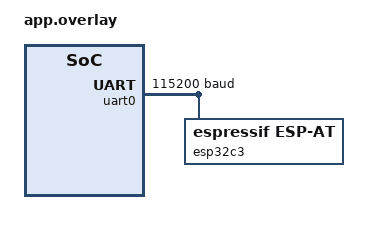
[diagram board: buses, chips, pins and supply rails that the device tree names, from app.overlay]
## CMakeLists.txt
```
# SPDX-License-Identifier: Apache-2.0

cmake_minimum_required(VERSION 3.20.0)

find_package(Zephyr REQUIRED HINTS $ENV{ZEPHYR_BASE})
project(esp_at_wifi)

target_sources(app PRIVATE src/main.c)
```

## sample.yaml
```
common:
  harness: net
  tags:
    - net
    - wifi
    - esp_at

sample:
  name: ESP-AT Wi-Fi connection test
  description: Connect to a Wi-Fi network through an ESP-AT module.

tests:
  sample.net.wifi.esp_at:
    platform_allow:
      - nrf52dk_nrf52832
    integration_platforms:
      - nrf52dk_nrf52832
```

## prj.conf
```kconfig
CONFIG_EARLY_CONSOLE=n
CONFIG_UART_CONSOLE=n
CONFIG_LOG_BACKEND_UART=n
CONFIG_USE_SEGGER_RTT=y
CONFIG_RTT_CONSOLE=y
CONFIG_LOG_BACKEND_RTT=y

CONFIG_NETWORKING=y
CONFIG_NET_IPV4=y
CONFIG_NET_IPV6=n
CONFIG_NET_DHCPV4=y

CONFIG_NET_TX_STACK_SIZE=2048
CONFIG_NET_RX_STACK_SIZE=2048

CONFIG_NET_PKT_RX_COUNT=16
CONFIG_NET_PKT_TX_COUNT=16
CONFIG_NET_BUF_RX_COUNT=16
CONFIG_NET_BUF_TX_COUNT=16

CONFIG_NET_LOG=y
CONFIG_INIT_STACKS=y

CONFIG_NET_STATISTICS=y
CONFIG_NET_STATISTICS_PERIODIC_OUTPUT=n

CONFIG_WIFI=y
CONFIG_WIFI_LOG_LEVEL_DBG=y

CONFIG_LOG=y
CONFIG_LOG_DEFAULT_LEVEL=3
CONFIG_LOG_MODE_IMMEDIATE=y
CONFIG_LOG_PRINTK=y
CONFIG_SEGGER_RTT_BUFFER_SIZE_UP=4096
CONFIG_LOG_BACKEND_RTT_OUTPUT_BUFFER_SIZE=256

CONFIG_WIFI_INIT_PRIORITY=70
CONFIG_NET_L2_WIFI_MGMT=y

CONFIG_WIFI_ESP_AT=y
CONFIG_WIFI_ESP_AT_PASSIVE_MODE=y
CONFIG_WIFI_ESP_AT_VERSION_2_1=y
CONFIG_WIFI_ESP_AT_FETCH_VERSION=n
CONFIG_WIFI_ESP_AT_SCAN_RESULT_RSSI_ORDERED=y
CONFIG_WIFI_ESP_AT_DNS_USE=n
CONFIG_WIFI_ESP_AT_RX_STACK_SIZE=1024
CONFIG_WIFI_ESP_AT_WORKQ_STACK_SIZE=1024
```

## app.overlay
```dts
modem_uart: &uart0 {
	compatible = "nordic,nrf-uarte";
	status = "okay";
	current-speed = <115200>;
	pinctrl-0 = <&uart0_default>;
	pinctrl-1 = <&uart0_sleep>;
	pinctrl-names = "default", "sleep";

	esp32c3 {
		compatible = "espressif,esp-at";
		status = "okay";
	};
};
```

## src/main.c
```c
/*
 * SPDX-License-Identifier: Apache-2.0
 */

#include <string.h>
#include <errno.h>

#include <zephyr/kernel.h>
#include <zephyr/logging/log.h>
#include <zephyr/net/net_if.h>
#include <zephyr/net/wifi_mgmt.h>

LOG_MODULE_REGISTER(WIFI_TEST, LOG_LEVEL_DBG);

#define WIFI_SSID                "YOUR_WIFI_SSID"
#define WIFI_PSK                 "YOUR_WIFI_PASSWORD"
#define WIFI_IFACE_TIMEOUT_MS    15000
#define WIFI_CONNECT_TIMEOUT     K_SECONDS(30)

static struct net_mgmt_event_callback wifi_cb;
static K_SEM_DEFINE(wifi_connect_sem, 0, 1);

static int  wifi_connect_status;
static bool connected;

static int
wait_for_wifi_iface(struct net_if *iface)
{
    int64_t deadline = k_uptime_get() + WIFI_IFACE_TIMEOUT_MS;

    while (k_uptime_get() < deadline)
    {
        if (net_if_is_carrier_ok(iface))
        {
            return (0);
        }

        k_sleep(K_MSEC(100));
    }

    return (-ETIMEDOUT);
}


static void
wifi_event_handler(struct net_mgmt_event_callback *cb,
                   uint64_t mgmt_event, struct net_if *iface)
{
    switch (mgmt_event)
    {
    case NET_EVENT_WIFI_CONNECT_RESULT:
    {
        struct wifi_status *status = (struct wifi_status *)cb->info;

        wifi_connect_status = status->status;

        if (wifi_connect_status == 0)
        {
            connected = true;
            LOG_INF("Wi-Fi connected");
        }
        else
        {
            connected = false;
            LOG_ERR("Wi-Fi connection failed: %d", wifi_connect_status);
        }

        k_sem_give(&wifi_connect_sem);
        break;
    }

    case NET_EVENT_WIFI_DISCONNECT_RESULT:
        connected = false;
        LOG_WRN("Wi-Fi disconnected");
        break;

    default:
        break;
    }
}


static int
connect_to_wifi(void)
{
    struct net_if *iface = net_if_get_default();
    struct wifi_connect_req_params wifi_params = { 0 };
    int ret;

    if (iface == NULL)
    {
        LOG_ERR("No default network interface found");
        return (-ENODEV);
    }

    ret = wait_for_wifi_iface(iface);
    if (ret != 0)
    {
        LOG_ERR("Timed out waiting for ESP Wi-Fi interface");
        return (ret);
    }

    net_mgmt_init_event_callback(&wifi_cb, wifi_event_handler,
                                 NET_EVENT_WIFI_CONNECT_RESULT |
                                 NET_EVENT_WIFI_DISCONNECT_RESULT);
    net_mgmt_add_event_callback(&wifi_cb);

    wifi_params.ssid        = WIFI_SSID;
    wifi_params.ssid_length = strlen(WIFI_SSID);
    wifi_params.psk         = WIFI_PSK;
    wifi_params.psk_length  = strlen(WIFI_PSK);
    wifi_params.channel     = WIFI_CHANNEL_ANY;
    wifi_params.security    = WIFI_SECURITY_TYPE_PSK;

    LOG_INF("Connecting to SSID: %s", WIFI_SSID);

    ret = net_mgmt(NET_REQUEST_WIFI_CONNECT, iface, &wifi_params,
                   sizeof(wifi_params));
    if (ret != 0)
    {
        LOG_ERR("Wi-Fi connection request failed: %d", ret);
        return (ret);
    }

    ret = k_sem_take(&wifi_connect_sem, WIFI_CONNECT_TIMEOUT);
    if (ret != 0)
    {
        LOG_ERR("Timed out waiting for Wi-Fi connection");
        return (-ETIMEDOUT);
    }

    return (wifi_connect_status);
}


int
main(void)
{
    int ret;

    LOG_INF("Wi-Fi connection starting");

    ret = connect_to_wifi();
    if (ret != 0)
    {
        LOG_ERR("Failed to connect to Wi-Fi: %d", ret);
        return (0);
    }

    while (true)
    {
        LOG_INF("Wi-Fi status: %s", connected ? "connected" : "disconnected");
        k_sleep(K_SECONDS(10));
    }

    return (0);
}
```
